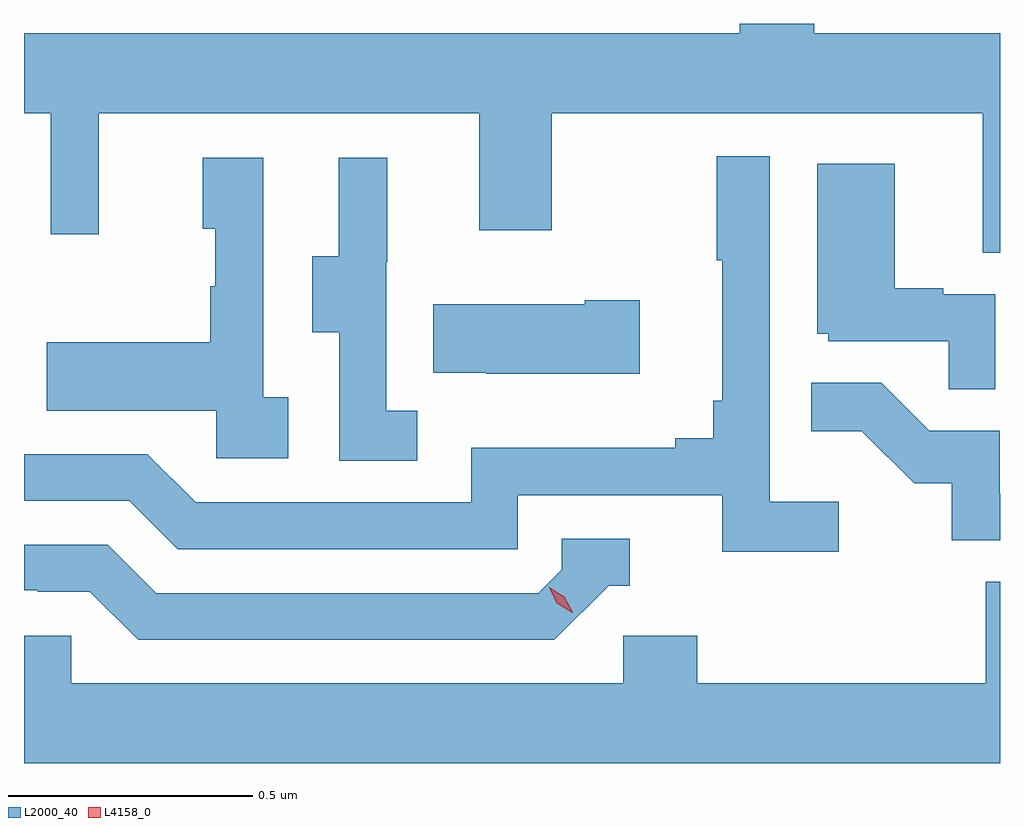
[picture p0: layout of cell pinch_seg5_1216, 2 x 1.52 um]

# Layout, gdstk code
import gdstk
lib = gdstk.Library(unit=1e-6, precision=1e-09)
def P(c, l, *ps):  # polygons
    for p in ps: c.add(gdstk.Polygon(p, *l))
L2000_40 = (2000, 40)
L4158_0 = (4158, 0)

pinch_seg5_1216 = lib.new_cell('pinch_seg5_1216')
P(pinch_seg5_1216, L2000_40, [(880.78,846.268),(880.399,846.268),(880.399,846.288),(880.247,846.288),(880.247,846.268),(878.78,846.268),(878.78,846.104),(878.835,846.104),(878.835,845.856),(878.933,845.856),(878.933,846.104),(879.713,846.104),(879.713,845.865),(879.861,845.865),(879.861,846.104),(880.745,846.104),(880.745,845.818),(880.78,845.818)],
  [(880.45,845.308),(880.308,845.308),(880.308,846.016),(880.2,846.016),(880.2,845.803),(880.211,845.803),(880.211,845.515),(880.192,845.515),(880.192,845.438),(880.115,845.438),(880.115,845.419),(879.696,845.419),(879.696,845.307),(879.132,845.307),(879.033,845.406),(878.78,845.406),(878.78,845.31),(878.996,845.31),(879.095,845.211),(879.792,845.211),(879.792,845.322),(880.211,845.322),(880.211,845.206),(880.45,845.206)],
  [(879.586,845.495),(879.522,845.495),(879.522,845.799),(879.524,845.799),(879.524,846.013),(879.425,846.013),(879.425,845.811),(879.371,845.811),(879.371,845.656),(879.426,845.656),(879.426,845.392),(879.586,845.392)],
  [(879.322,845.522),(879.27,845.522),(879.27,846.013),(879.146,846.013),(879.146,845.868),(879.172,845.868),(879.172,845.75),(879.162,845.75),(879.162,845.635),(878.827,845.635),(878.827,845.495),(879.174,845.495),(879.174,845.397),(879.322,845.397)],
  [(880.77,845.733),(880.664,845.733),(880.664,845.746),(880.564,845.746),(880.564,846.001),(880.406,846.001),(880.406,845.652),(880.428,845.652),(880.428,845.637),(880.675,845.637),(880.675,845.539),(880.77,845.539)],
  [(880.042,845.721),(879.929,845.721),(879.929,845.713),(879.619,845.713),(879.619,845.573),(879.727,845.573),(879.727,845.57),(880.042,845.57)],
  [(880.78,845.325),(880.779,845.325),(880.779,845.454),(880.635,845.454),(880.537,845.552),(880.393,845.552),(880.393,845.453),(880.497,845.453),(880.604,845.346),(880.681,845.346),(880.681,845.229),(880.78,845.229)],
  [(879.978,845.136),(880.021,845.136),(880.021,845.232),(879.882,845.232),(879.882,845.169),(879.834,845.121),(879.051,845.121),(878.952,845.22),(878.78,845.22),(878.78,845.127),(878.808,845.127),(878.808,845.124),(878.915,845.124),(879.014,845.025),(879.867,845.025)],
  [(880.78,845.144),(880.751,845.144),(880.751,844.936),(880.16,844.936),(880.16,845.034),(880.008,845.034),(880.008,844.936),(878.877,844.936),(878.877,845.034),(878.78,845.034),(878.78,844.772),(880.78,844.772)])
P(pinch_seg5_1216, L4158_0, [(879.903,845.081),(879.872,845.1),(879.856,845.133),(879.856,845.133),(879.856,845.133),(879.887,845.114),(879.904,845.082),(879.904,845.081)])

lib.write_gds('pinch_seg5_1216.gds')
